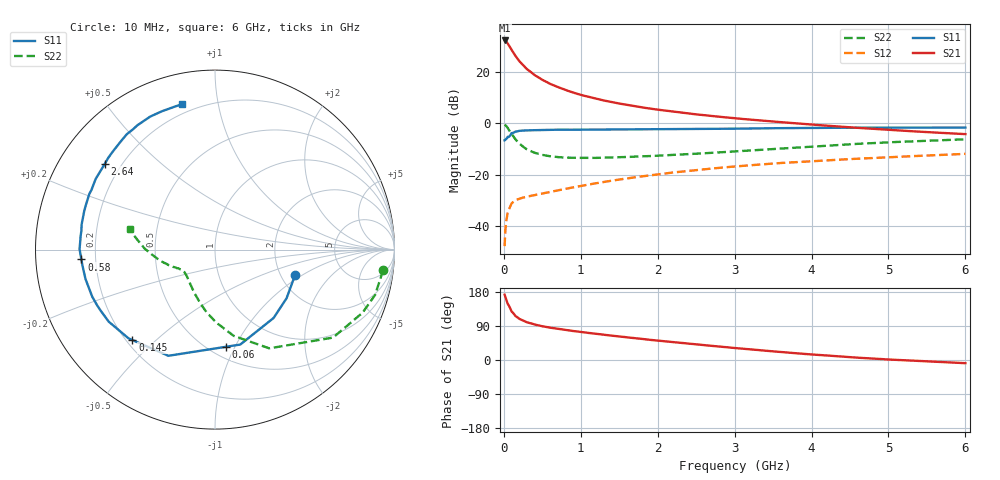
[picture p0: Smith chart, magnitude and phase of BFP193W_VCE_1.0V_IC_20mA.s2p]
! Infineon Technologies  Discrete & RF Semiconductors
! BFP193W
! VCE = 1.0 V,  IC =  20 mA
! Common Emitter S-Parameters:  Jan 2016
# GHz  S  MA  R  50
!  f  S11  S21  S12  S22
! GHz  MAG  ANG  MAG  ANG  MAG  ANG  MAG  ANG
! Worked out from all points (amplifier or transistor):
!   210 points, 10 MHz to 6 GHz, reference 50 ohm
!   highest |S21| = 32.4 dB at 10 MHz (marker M1)
!   |S21| within 3 dB of that: start of sweep to 86.37 MHz
!   unconditionally stable (mu >= 1): 843.5 MHz to 5.624 GHz
!   at 185 MHz: K = 0.35, MSG = 27.3 dB, |S12| = -29.6 dB
!   at 1.52 GHz: K = 1.16, MAG = 12.4 dB, |S12| = -21.8 dB
!   at 6 GHz: K = 0.98, MSG = 3.9 dB, |S12| = -11.9 dB
!   S11 on the Smith chart (normalised r, x): 10 MHz: 2.39, -0.86; 60 MHz: 0.60, -0.92; 145 MHz: 0.22, -0.42; 580 MHz: 0.15, -0.04; 2.64 GHz: 0.14, +0.34; 6 GHz: 0.15, +0.79
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0.01  0.4681 -17.5  41.73 172.4  0.004 83.4  0.9439 -7.0
0.02  0.4822 -34.2  41.13 166.4  0.0083 77.5  0.9271 -15.8
0.03  0.5017 -49.4  40.01 160.0  0.0118 72.9  0.8941 -23.2
0.05  0.5474 -75.1  36.49 148.4  0.0179 62.3  0.8201 -36.7
0.06  0.5449 -83.6  34.41 145.3  0.0196 58.2  0.7721 -40.6
0.1  0.6461 -113.7  27.5 128.4  0.0273 47.3  0.6278 -61.2
0.145  0.6823 -132.4  21.51 117.7  0.031 40.5  0.5028 -75.8
0.15  0.6905 -134.3  20.9 116.1  0.0314 39.8  0.4915 -77.8
0.2  0.7155 -145.9  16.54 108.7  0.0337 36.6  0.4053 -89.2
0.24  0.7223 -152.0  14.22 104.6  0.0352 35.6  0.3612 -96.0
0.3  0.7326 -159.0  11.49 99.5  0.0371 35.7  0.3109 -105.1
0.4  0.7399 -167.2  8.782 93.5  0.0397 36.9  0.2669 -115.7
0.58  0.7463 -175.8  6.173 86.2  0.0452 41.0  0.231 -128.2
0.8  0.7521 177.0  4.497 79.3  0.0527 45.6  0.215 -137.2
1.02  0.7525 171.6  3.545 73.5  0.0607 48.6  0.2121 -142.9
1.4  0.7597 163.6  2.613 64.3  0.0759 51.6  0.2167 -148.3
2.02  0.7673 152.2  1.842 50.9  0.1022 52.4  0.2352 -153.8
2.64  0.7781 142.0  1.428 38.5  0.1288 50.3  0.2629 -160.1
3.1  0.7914 134.8  1.224 30.0  0.1481 47.8  0.2893 -164.9
4.1  0.8174 120.7  0.926 13.3  0.1868 41.5  0.3596 -176.6
5.1  0.8255 110.2  0.732 0.4  0.2217 34.9  0.4335 173.1
6  0.8307 102.8  0.618 -8.4  0.2541 29.6  0.4887 166.4
